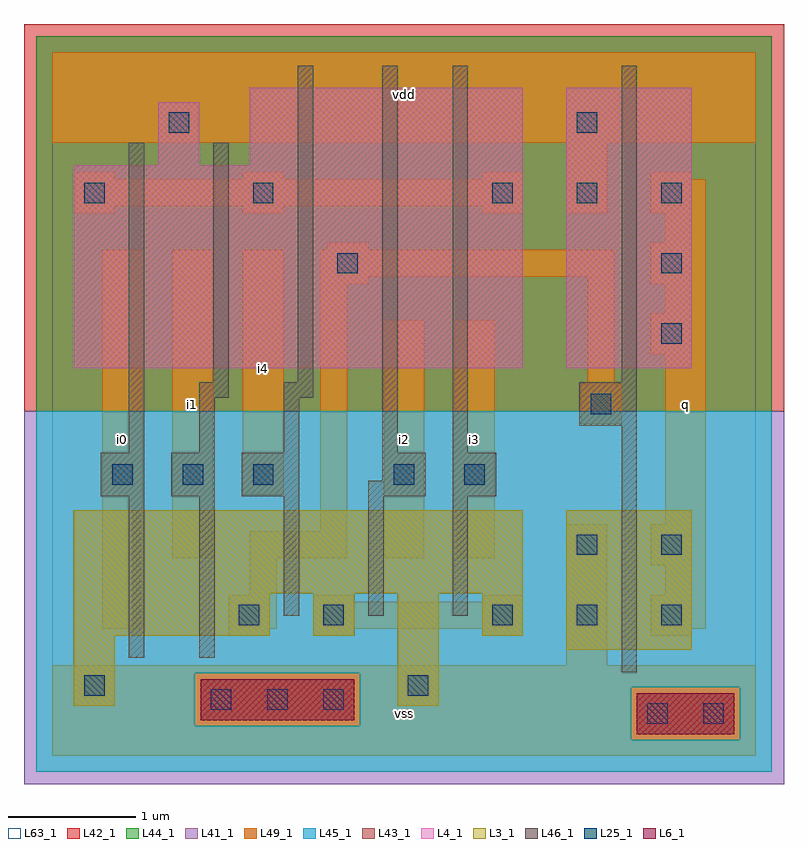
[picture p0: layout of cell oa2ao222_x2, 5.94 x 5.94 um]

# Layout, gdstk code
import gdstk
lib = gdstk.Library(unit=1e-6, precision=1e-09)
def R(c, l, rs):  # rectangles x0, y0, x1, y1
    for r in rs: c.add(gdstk.rectangle(r[:2], r[2:], *l))
def A(c, l, x, y, w, h, nx, ny, dx, dy):  # array of equal rectangles
    R(c, l, [(x+i*dx, y+j*dy, x+i*dx+w, y+j*dy+h) for i in range(nx) for j in range(ny)])
L3_1 = (3, 1)
L4_1 = (4, 1)
L6_1 = (6, 1)
L25_1 = (25, 1)
L41_1 = (41, 1)
L42_1 = (42, 1)
L43_1 = (43, 1)
L44_1 = (44, 1)
L45_1 = (45, 1)
L46_1 = (46, 1)
L49_1 = (49, 1)
L63_1 = (63, 1)

oa2ao222_x2 = lib.new_cell('oa2ao222_x2')
R(oa2ao222_x2, L3_1, [(0.17,0.39,0.49,0.94), (2.7,0.39,3.02,1.27), (4.02,0.83,5,1.92), (0.17,0.94,1.7,1.27), (2.04,0.94,2.36,1.27), (3.36,0.94,3.68,1.27), (0.17,1.27,3.68,1.92)])
R(oa2ao222_x2, L4_1, [(0.17,3.03,3.68,4.615), (4.02,3.03,5,5.22), (0.83,4.615,1.15,5.11), (1.545,4.615,3.68,5.22)])
R(oa2ao222_x2, L6_1, [(4.57,0.17,5.33,0.49), (1.16,0.28,2.36,0.6)])
A(oa2ao222_x2, L25_1, 1.24, 0.36, 0.16, 0.16, 3, 1, 0.44, 0)
A(oa2ao222_x2, L25_1, 3.44, 1.02, 0.16, 0.16, 3, 2, 0.66, 3.3)
A(oa2ao222_x2, L25_1, 0.47, 2.12, 0.16, 0.16, 3, 1, 0.55, 0)
R(oa2ao222_x2, L25_1, [(4.65,0.25,4.81,0.41), (5.09,0.25,5.25,0.41), (0.25,0.47,0.41,0.63), (2.78,0.47,2.94,0.63), (1.46,1.02,1.62,1.18), (2.12,1.02,2.28,1.18), (4.1,1.57,4.26,1.73), (4.76,1.57,4.92,1.73), (2.67,2.12,2.83,2.28), (3.22,2.12,3.38,2.28), (4.21,2.67,4.37,2.83), (4.76,3.22,4.92,3.38), (2.23,3.77,2.39,3.93), (4.76,3.77,4.92,3.93), (0.25,4.32,0.41,4.48), (1.57,4.32,1.73,4.48), (0.91,4.87,1.07,5.03), (4.1,4.87,4.26,5.03)])
R(oa2ao222_x2, L41_1, [(-0.22,-0.22,5.72,2.695)])
R(oa2ao222_x2, L42_1, [(-0.22,2.695,5.72,5.72)])
R(oa2ao222_x2, L43_1, [(4.57,0.17,5.33,0.49), (1.16,0.28,2.36,0.6), (0.17,0.39,0.49,0.94), (2.7,0.39,3.02,1.27), (4.02,0.83,5,1.92), (0.17,0.94,1.7,1.27), (2.04,0.94,2.36,1.27), (3.36,0.94,3.68,1.27), (0.17,1.27,3.68,1.92), (0.17,3.03,3.68,4.615), (4.02,3.03,5,5.22), (0.83,4.615,1.15,5.11), (1.545,4.615,3.68,5.22)])
R(oa2ao222_x2, L44_1, [(4.525,0.125,5.375,0.535), (1.115,0.235,2.405,0.645), (-0.125,2.695,5.625,5.625)])
R(oa2ao222_x2, L45_1, [(-0.125,-0.125,5.625,0.125), (-0.125,0.125,4.525,0.235), (5.375,0.125,5.625,0.535), (-0.125,0.235,1.115,0.645), (2.405,0.235,4.525,0.535), (2.405,0.535,5.625,0.645), (-0.125,0.645,5.625,2.695)])
A(oa2ao222_x2, L46_1, 1.81, 1.095, 0.12, 0.935, 3, 1, 0.66, 0)
R(oa2ao222_x2, L46_1, [(4.45,0.655,4.57,2.58), (0.6,0.765,0.72,2.03), (1.15,0.765,1.27,2.03), (0.38,2.03,0.72,2.37), (0.93,2.03,1.27,2.37), (1.48,2.03,1.93,2.37), (2.47,2.03,2.92,2.15), (3.13,2.03,3.47,2.37), (2.58,2.15,2.92,2.37), (0.6,2.37,0.72,4.79), (1.15,2.37,1.27,2.8), (1.81,2.37,1.93,2.8), (2.58,2.37,2.7,5.395), (3.13,2.37,3.25,5.395), (4.12,2.58,4.57,2.92), (1.15,2.8,1.38,2.92), (1.81,2.8,2.04,2.92), (1.26,2.92,1.38,4.79), (1.92,2.92,2.04,5.395), (4.45,2.92,4.57,5.395)])
A(oa2ao222_x2, L49_1, 2.04, 0.94, 0.32, 0.055, 3, 1, 1.32, 0)
R(oa2ao222_x2, L49_1, [(0,0,5.5,0.71), (4.02,0.71,4.34,1.81), (1.38,0.94,1.7,0.995), (0.39,0.995,0.71,3.955), (1.38,0.995,1.755,1.26), (2.04,0.995,3.68,1.205), (4.68,0.995,5.11,1.26), (2.04,1.205,2.36,1.26), (3.36,1.205,3.68,1.26), (1.545,1.26,1.755,1.545), (4.79,1.26,5.11,1.49), (4.68,1.49,5.11,1.81), (0.94,1.545,1.26,3.955), (1.545,1.545,2.305,1.755), (2.59,1.545,2.91,3.405), (3.14,1.545,3.46,3.405), (2.095,1.755,2.305,3.69), (4.79,1.81,5.11,3.14), (1.49,2.04,1.81,3.955), (4.13,2.59,4.45,2.91), (4.185,2.91,4.395,3.745), (4.68,3.14,5.11,3.46), (4.79,3.46,5.11,3.69), (2.095,3.69,2.47,3.745), (4.68,3.69,5.11,4.01), (2.095,3.745,4.395,3.955), (2.15,3.955,2.47,4.01), (4.79,4.01,5.11,4.24), (0.17,4.24,0.49,4.295), (1.49,4.24,1.81,4.295), (3.36,4.24,3.68,4.295), (4.02,4.24,4.34,4.79), (4.68,4.24,5.11,4.505), (0.17,4.295,3.68,4.505), (0.17,4.505,0.49,4.56), (1.49,4.505,1.81,4.56), (3.36,4.505,3.68,4.56), (4.68,4.505,5,4.56), (0,4.79,5.5,5.5)])
R(oa2ao222_x2, L63_1, [(0,0,5.5,5.5)])
oa2ao222_x2.add(gdstk.Label('i0', (0.55,2.475), layer=49, texttype=1))
oa2ao222_x2.add(gdstk.Label('i0', (0.55,2.475), layer=49, texttype=1))
oa2ao222_x2.add(gdstk.Label('i1', (1.1,2.75), layer=49, texttype=1))
oa2ao222_x2.add(gdstk.Label('i1', (1.1,2.75), layer=49, texttype=1))
oa2ao222_x2.add(gdstk.Label('i4', (1.65,3.025), layer=49, texttype=1))
oa2ao222_x2.add(gdstk.Label('i4', (1.65,3.025), layer=49, texttype=1))
oa2ao222_x2.add(gdstk.Label('vss', (2.75,0.33), layer=49, texttype=1))
oa2ao222_x2.add(gdstk.Label('vss', (2.75,0.33), layer=49, texttype=1))
oa2ao222_x2.add(gdstk.Label('i2', (2.75,2.475), layer=49, texttype=1))
oa2ao222_x2.add(gdstk.Label('i2', (2.75,2.475), layer=49, texttype=1))
oa2ao222_x2.add(gdstk.Label('vdd', (2.75,5.17), layer=49, texttype=1))
oa2ao222_x2.add(gdstk.Label('vdd', (2.75,5.17), layer=49, texttype=1))
oa2ao222_x2.add(gdstk.Label('i3', (3.3,2.475), layer=49, texttype=1))
oa2ao222_x2.add(gdstk.Label('i3', (3.3,2.475), layer=49, texttype=1))
oa2ao222_x2.add(gdstk.Label('q', (4.95,2.75), layer=49, texttype=1))
oa2ao222_x2.add(gdstk.Label('q', (4.95,2.75), layer=49, texttype=1))

lib.write_gds('oa2ao222_x2.gds')
